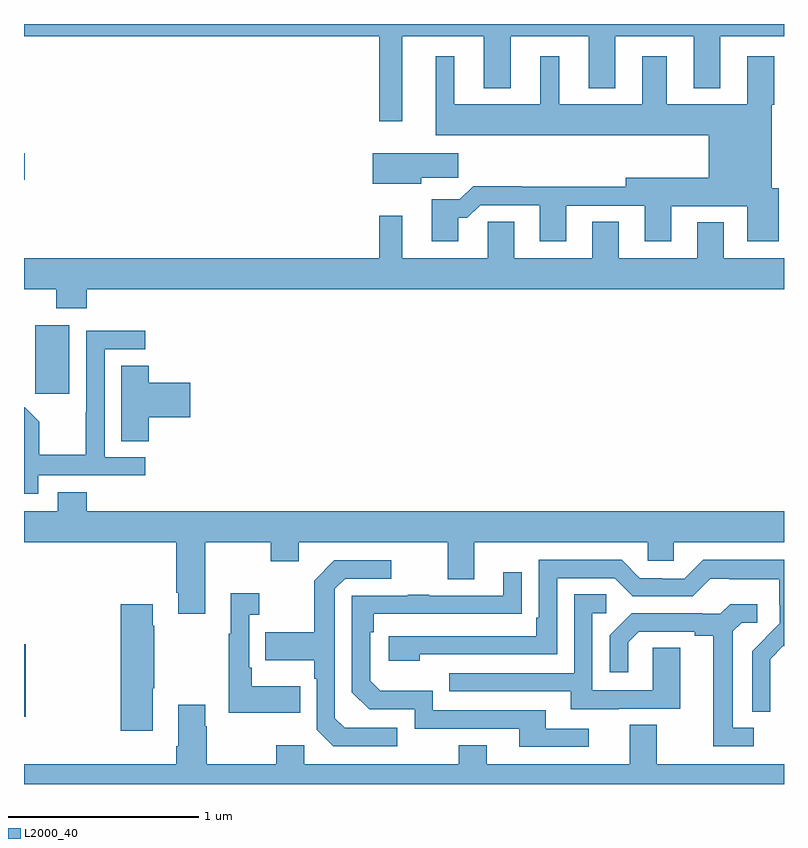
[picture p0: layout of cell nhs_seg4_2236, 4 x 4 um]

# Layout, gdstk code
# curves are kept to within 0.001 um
import gdstk
lib = gdstk.Library(unit=1e-6, precision=1e-09)
def R(c, l, rs):  # rectangles x0, y0, x1, y1
    for r in rs: c.add(gdstk.rectangle(r[:2], r[2:], *l))
def P(c, l, *ps):  # polygons
    for p in ps: c.add(gdstk.Polygon(p, *l))
L2000_40 = (2000, 40)

nhs_seg4_2236 = lib.new_cell('nhs_seg4_2236')
R(nhs_seg4_2236, L2000_40, [(227,777.255,227.009,777.636), (227.06,778.953,227.239,779.314), (227,780.079,227.005,780.221)])
P(nhs_seg4_2236, L2000_40, [(227,780.836),(228.87,780.836),(228.87,780.387),(228.991,780.387),(228.991,780.836),(229.421,780.836),(229.421,780.563),(229.561,780.563),(229.561,780.836),(229.973,780.836),(229.973,780.563),(230.113,780.563),(230.113,780.836),(230.525,780.836),(230.525,780.563),(230.665,780.563),(230.665,780.836),(231,780.836),(231,780.9),(227,780.9)],
  [(229.285,779.879),(229.334,779.879),(229.401,779.946),(229.715,779.946),(229.715,779.757),(229.855,779.757),(229.855,779.943),(230.267,779.943),(230.267,779.757),(230.407,779.757),(230.407,779.942),(230.807,779.942),(230.807,779.757),(230.972,779.757),(230.972,780.036),(230.935,780.036),(230.935,780.474),(230.948,780.474),(230.948,780.73),(230.807,780.73),(230.807,780.478),(230.383,780.478),(230.383,780.73),(230.255,780.73),(230.255,780.478),(229.816,780.478),(229.816,780.73),(229.718,780.73),(229.718,780.478),(229.264,780.478),(229.264,780.73),(229.166,780.73),(229.166,780.314),(230.603,780.314),(230.603,780.091),(230.168,780.091),(230.168,780.044),(229.619,780.044),(229.619,780.047),(229.364,780.047),(229.294,779.977),(229.145,779.977),(229.145,779.757),(229.285,779.757)],
  [(229.09,780.091),(229.285,780.091),(229.285,780.22),(228.836,780.22),(228.836,780.059),(229.09,780.059)],
  [(227.33,779.504),(231,779.504),(231,779.668),(230.683,779.668),(230.683,779.857),(230.543,779.857),(230.543,779.668),(230.131,779.668),(230.131,779.858),(229.991,779.858),(229.991,779.668),(229.579,779.668),(229.579,779.858),(229.44,779.858),(229.44,779.668),(228.991,779.668),(228.991,779.89),(228.87,779.89),(228.87,779.668),(227,779.668),(227,779.504),(227.17,779.504),(227.17,779.405),(227.33,779.405)],
  [(227.076,778.524),(227.638,778.524),(227.638,778.62),(227.424,778.62),(227.424,779.187),(227.638,779.187),(227.638,779.286),(227.328,779.286),(227.328,778.856),(227.326,778.856),(227.326,778.633),(227.081,778.633),(227.081,778.807),(227.004,778.884),(227.001,778.881),(227,778.882),(227,778.427),(227.076,778.427)],
  [(227.657,778.829),(227.875,778.829),(227.875,779.012),(227.657,779.012),(227.657,779.102),(227.513,779.102),(227.513,778.705),(227.657,778.705)],
  [(227.953,778.172),(228.298,778.172),(228.298,778.073),(228.445,778.073),(228.445,778.172),(229.229,778.172),(229.229,777.978),(229.369,777.978),(229.369,778.172),(230.283,778.172),(230.283,778.074),(230.421,778.074),(230.421,778.172),(231,778.172),(231,778.336),(227.33,778.336),(227.33,778.435),(227.177,778.435),(227.177,778.336),(227,778.336),(227,778.172),(227.801,778.172),(227.801,777.907),(227.813,777.907),(227.813,777.795),(227.953,777.795)],
  [(230.928,777.434),(230.927,777.557),(230.997,777.627),(231,777.624),(231,778.081),(230.575,778.081),(230.475,777.981),(230.36,777.981),(230.36,777.984),(230.241,777.984),(230.145,778.08),(229.71,778.08),(229.71,777.775),(229.697,777.775),(229.697,777.678),(228.921,777.678),(228.921,777.548),(229.082,777.548),(229.082,777.582),(229.806,777.582),(229.806,777.984),(230.109,777.984),(230.205,777.888),(230.52,777.888),(230.613,777.981),(230.713,777.981),(230.713,777.977),(230.976,777.977),(230.976,777.843),(230.978,777.843),(230.978,777.746),(230.832,777.598),(230.832,777.28),(230.928,777.28)],
  [(228.964,777.195),(228.687,777.195),(228.636,777.246),(228.636,777.927),(228.69,777.981),(228.934,777.981),(228.934,778.077),(228.633,778.077),(228.528,777.971),(228.528,777.699),(228.271,777.699),(228.271,777.551),(228.528,777.551),(228.528,777.455),(228.54,777.455),(228.54,777.186),(228.627,777.099),(228.964,777.099)],
  [(229.972,777.192),(229.747,777.192),(229.747,777.288),(229.152,777.288),(229.152,777.391),(228.875,777.391),(228.822,777.444),(228.822,777.698),(228.842,777.698),(228.842,777.795),(229.619,777.796),(229.619,778.015),(229.523,778.015),(229.523,777.891),(229.133,777.891),(229.133,777.896),(229.021,777.896),(229.021,777.891),(228.726,777.891),(228.726,777.384),(228.816,777.294),(229.056,777.294),(229.056,777.192),(229.607,777.192),(229.607,777.096),(229.972,777.096)],
  [(228.455,777.415),(228.199,777.415),(228.199,777.511),(228.186,777.511),(228.186,777.791),(228.238,777.791),(228.238,777.904),(228.089,777.904),(228.089,777.691),(228.078,777.691),(228.078,777.275),(228.455,777.275)],
  [(230.131,777.297),(230.455,777.297),(230.455,777.617),(230.31,777.617),(230.31,777.393),(229.992,777.393),(229.992,777.798),(230.065,777.798),(230.065,777.899),(229.896,777.899),(229.896,777.483),(229.237,777.483),(229.237,777.387),(229.877,777.387),(229.877,777.293),(230.131,777.293)],
  [(227.677,777.403),(227.685,777.403),(227.685,777.734),(227.677,777.734),(227.677,777.847),(227.51,777.847),(227.51,777.18),(227.677,777.18)],
  [(230.842,777.195),(230.731,777.195),(230.731,777.703),(230.778,777.75),(230.86,777.75),(230.86,777.847),(230.716,777.847),(230.664,777.795),(230.57,777.795),(230.57,777.798),(230.198,777.798),(230.082,777.682),(230.082,777.489),(230.179,777.489),(230.179,777.645),(230.236,777.702),(230.531,777.702),(230.531,777.68),(230.627,777.68),(230.627,777.099),(230.842,777.099)],
  [(231,777.004),(230.329,777.004),(230.329,777.212),(230.189,777.212),(230.189,777.004),(229.435,777.004),(229.435,777.103),(229.288,777.103),(229.288,777.004),(228.474,777.004),(228.474,777.103),(228.328,777.103),(228.328,777.004),(227.961,777.004),(227.961,777.203),(227.953,777.203),(227.953,777.316),(227.813,777.316),(227.813,777.1),(227.801,777.1),(227.801,777.004),(227,777.004),(227,776.9),(231,776.9)])

lib.write_gds('nhs_seg4_2236.gds')
